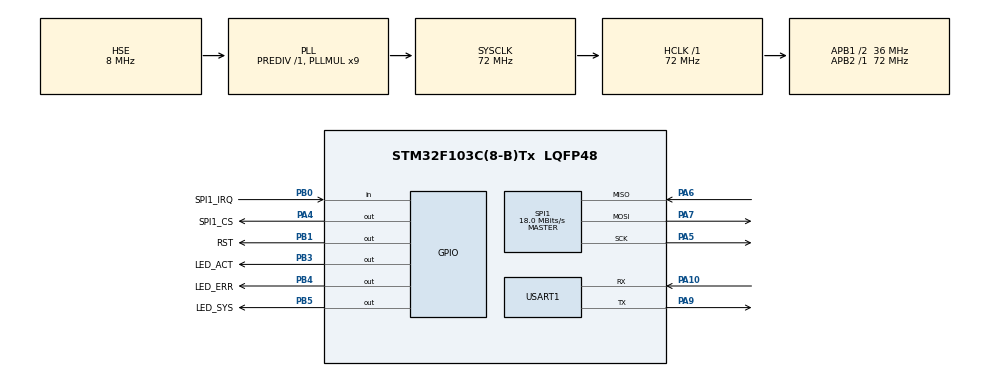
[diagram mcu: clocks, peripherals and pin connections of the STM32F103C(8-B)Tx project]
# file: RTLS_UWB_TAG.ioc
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IWDG.Prescaler=IWDG_PRESCALER_64
IWDG.Reload=624
Mcu.Family=STM32F1
Mcu.Name=STM32F103C(8-B)Tx
Mcu.Package=LQFP48
NVIC.PriorityGroup=NVIC_PRIORITYGROUP_4
NVIC.SPI1_IRQn=true\:0\:0\:false\:false\:true\:true\:true\:true
NVIC.TIM1_UP_IRQn=true\:0\:0\:false\:false\:true\:true\:true\:true
NVIC.USART1_IRQn=true\:0\:0\:false\:false\:true\:true\:true\:true
PA10.Mode=Asynchronous
PA10.Signal=USART1_RX
PA13.Mode=Serial_Wire
PA13.Signal=SYS_JTMS-SWDIO
PA14.Mode=Serial_Wire
PA14.Signal=SYS_JTCK-SWCLK
PA4.GPIO_Label=SPI1_CS
PA4.Signal=GPIO_Output
PA5.Mode=Full_Duplex_Master
PA5.Signal=SPI1_SCK
PA6.Mode=Full_Duplex_Master
PA6.Signal=SPI1_MISO
PA7.Mode=Full_Duplex_Master
PA7.Signal=SPI1_MOSI
PA9.Mode=Asynchronous
PA9.Signal=USART1_TX
PB0.GPIO_Label=SPI1_IRQ
PB0.Signal=GPIO_Input
PB1.GPIO_Label=RST
PB1.Signal=GPIO_Output
PB3.GPIO_Label=LED_ACT
PB3.Signal=GPIO_Output
PB4.GPIO_Label=LED_ERR
PB4.Signal=GPIO_Output
PB5.GPIO_Label=LED_SYS
PB5.Signal=GPIO_Output
PD0-OSC_IN.Mode=HSE-External-Oscillator
PD0-OSC_IN.Signal=RCC_OSC_IN
PD1-OSC_OUT.Mode=HSE-External-Oscillator
PD1-OSC_OUT.Signal=RCC_OSC_OUT
ProjectManager.HeapSize=0x200
ProjectManager.StackSize=0x400
ProjectManager.TargetToolchain=STM32CubeIDE
RCC.AHBFreq_Value=72000000
RCC.APB1CLKDivider=RCC_HCLK_DIV2
RCC.APB1Freq_Value=36000000
RCC.APB1TimFreq_Value=72000000
RCC.APB2Freq_Value=72000000
RCC.APB2TimFreq_Value=72000000
RCC.HCLKFreq_Value=72000000
RCC.PLLMUL=RCC_PLL_MUL9
RCC.PLLSourceVirtual=RCC_PLLSOURCE_HSE
RCC.SYSCLKFreq_VALUE=72000000
RCC.SYSCLKSource=RCC_SYSCLKSOURCE_PLLCLK
RCC.USBFreq_Value=72000000
SPI1.BaudRatePrescaler=SPI_BAUDRATEPRESCALER_4
SPI1.CalculateBaudRate=18.0 MBits/s
SPI1.Direction=SPI_DIRECTION_2LINES
SPI1.Mode=SPI_MODE_MASTER
SPI1.VirtualType=VM_MASTER
TIM1.Period=10000
TIM1.Prescaler=7200-1
USART1.VirtualMode=VM_ASYNC
VP_IWDG_VS_IWDG.Mode=IWDG_Activate
VP_TIM1_VS_ClockSourceINT.Mode=Internal
board=custom

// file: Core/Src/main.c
/* USER CODE BEGIN Header */
/**TAG TAG TAG TAG TAG TAG TAG TAG TAG TAG TAG TAG TAG TAG
 ******************************************************************************
 * @file           : main.c
 * @brief          : Main program body
 ******************************************************************************
 * @attention
 *
 * Copyright (c) 2023 STMicroelectronics.
 * All rights reserved.
 *
 * This software is licensed under terms that can be found in the LICENSE file
 * in the root directory of this software component.
 * If no LICENSE file comes with this software, it is provided AS-IS.
 *
 ******************************************************************************
 */
/* USER CODE END Header */
#include "main.h"
#include "iwdg.h"
#include "spi.h"
#include "tim.h"
#include "usart.h"
#include "gpio.h"

/* USER CODE BEGIN Includes */
#include <stdio.h>
#include <string.h>
#include <stdlib.h>
#include "decawave/dw_api.h"
#include "log/log.h"
#include "mac/mac.h"
#include "led/led.h"
/* USER CODE END Includes */

/* USER CODE BEGIN PTD */
// Payload of Anchor send to Tag
typedef struct
{
  uint8_t pollRx[5];
  uint8_t answerTx[5];
  uint8_t finalRx[5];
} __attribute__((packed)) reportPayload_t;

// timestamp
typedef union timestamp_u
{
  uint8_t raw[5];
  uint64_t full;
  struct
  {
    uint32_t low32;
    uint8_t high8;
  } __attribute__((packed));
  struct
  {
    uint8_t low8;
    uint32_t high32;
  } __attribute__((packed));
} timestamp_t;

typedef struct
{
  uint8_t typemess;
  uint8_t seq;
  // uint8_t anchorAddr[2];
} txHandle_t;

/* USER CODE END PTD */

/* USER CODE BEGIN PD */
// The four packets for ranging
#define POLL 0x01 // Poll is initiated by the tag
#define ANSWER 0x02
#define FINAL 0x03
#define REPORT 0x04 // Report contains all measurement from the anchor

#define TYPE 0 // POLL, ANWSER, FINAL, REPORT
#define SEQ 1  // sequence

#define RX_TIMEOUT 1000
/* USER CODE END PD */

/* USER CODE BEGIN PV */
// Timestamps for ranging
static dwTimestamp_t poll_tx;
static dwTimestamp_t poll_rx;
static dwTimestamp_t answer_tx;
static dwTimestamp_t answer_rx;
static dwTimestamp_t final_tx;
static dwTimestamp_t final_rx;

static const double C = 299702547;          // 299792458.0;        // Speed of light
static const double tsfreq = 499.2e6 * 128; // Timestamp counter frequency

// #define ANTENNA_OFFSET 154.6                                         // In meter
// #define ANTENNA_DELAY (ANTENNA_OFFSET * 499.2e6 * 128) / 299792458.0 // In radio tick
#define ANTENNA_DELAY 16469 // 16475 50

packet_t rxPacket = {0};
packet_t txPacket = {0};
txHandle_t txHandle = {0};
double arr_distance[3] = {0};
double average[30] = {0};
int count_aver=0;
double aver = 0;
volatile bool Flag_reset_timer = false;

// coordinate of anchors
float x_anchor1 = 200.0, y_anchor1 = 0.0;
float x_anchor2 = 0.0, y_anchor2 = 0.0;
float x_anchor3 = 0.0, y_anchor3 = 800.0;

// coor of tag
float coor_x, coor_y;

uint8_t curr_seq = 1;
int curr_anchor = 0;
long int seq_mess = 1;
int anchor_th = 0; // STT anchor

dwDeviceTypes_t device = {
    .extendedFrameLength = FRAME_LENGTH_NORMAL,
    .pacSize = PAC_SIZE_8,
    .pulseFrequency = TX_PULSE_FREQ_64MHZ,
    .dataRate = TRX_RATE_850KBPS,//TRX_RATE_6800KBPS,
    .preambleLength = TX_PREAMBLE_LEN_128,
    .preambleCode = PREAMBLE_CODE_64MHZ_9,
    .channel = CHANNEL_5,
    .smartPower = true,
    .frameCheck = true,
    .permanentReceive = false,
    .deviceMode = IDLE_MODE,
    .forceTxPower = false,
};

uint8_t tagBaseAddr[2] = {0x20, 0x01};
uint8_t anchorAddress[6] = {0x89, 0x01, 0x89, 0x02, 0x89, 0x03};

volatile bool sentAck = false;
volatile bool recievedAck = false;
volatile bool initAck = true;
/* USER CODE END PV */

void SystemClock_Config(void);

/* USER CODE BEGIN 0 */
void dwInteruptHandler(void)
{
  dwReadSystemEventStatusRegister(&device);
  if (dwIsTransmitDone(&device))
  {
    dwClearTransmitStatus(&device);
    sentAck = true;
  }
  if (dwIsReceiveDone(&device))
  {
    dwClearReceiveStatus(&device);
    recievedAck = true;
  }
  if (dwIsReceiveTimestampAvailable(&device))
  {
    dwClearReceiveTimestampAvailableStatus(&device);
  }
  if (dwIsReceiveFailed(&device))
  {
    dwClearReceiveStatus(&device);
    dwRxSoftReset(&device);
  }
  if (dwIsReceiveTimeout(&device))
  {
    dwClearReceiveStatus(&device);
    dwRxSoftReset(&device);
  }
}

void log_data(char *string)
{
  HAL_UART_Transmit(&huart, (uint8_t *)string, strlen(string), 1000);
}

void cal_location(float x1, float y1, float x2, float y2, float x3, float y3)
{
  float A, B, C, D, E, F;
  A = 2 * (x2 - x1);
  B = 2 * (y2 - y1);
  C = arr_distance[0] * arr_distance[0] - arr_distance[1] * arr_distance[1] - x1 * x1 + x2 * x2 - y1 * y1 + y2 * y2;
  D = 2 * (x3 - x1);
  E = 2 * (y3 - y1);
  F = arr_distance[0] * arr_distance[0] - arr_distance[2] * arr_distance[2] - x1 * x1 + x3 * x3 - y1 * y1 + y3 * y3;
  coor_x = (C * E - F * B) / (E * A - B * D);
  coor_y = (C * D - A * F) / (B * D - A * E);
}

// void set_timer(long time)
// {
//   TIM1.CNT = 60000 - time * 10;
// }
// void HAL_TIM_PeriodElapsedCallback(TIM_HandleTypeDef *htim)
// {
//   Flag_reset_timer = true;
//   // set_timer(1000);
//   log_data("Reset by Timer\r\n");
//   //NVIC_SystemReset();
// }
/* USER CODE END 0 */

int main(void)
{

  /* MCU Configuration--------------------------------------------------------*/

  /* Reset of all peripherals, Initializes the Flash interface and the Systick. */
  HAL_Init();

  /* Configure the system clock */
  SystemClock_Config();

  /* Initialize all configured peripherals */
  MX_GPIO_Init();
  MX_SPI1_Init();
  MX_USART1_UART_Init();
  MX_TIM1_Init();
  //MX_IWDG_Init();
  /* USER CODE BEGIN 2 */
  log_data("[TAG START]\r\n");
  MAC80215_PACKET_INIT(txPacket, MAC802154_TYPE_DATA);
  MAC80215_PACKET_INIT(rxPacket, MAC802154_TYPE_DATA);
  // init DW1000
  dwInit(&device);
  if (dwConfigure(&device) == DW_ERROR_OK)
  {
    dwEnableAllLeds(&device);
  }
  else
  {
    log_data("[Configure failed]\r\n");
    while (1)
      ;
  }
  dwNewConfiguration(&device);
  dwSetDefaults(&device);
  dwCommitConfiguration(&device);

  //set_timer(1000);
  //HAL_TIM_Base_Start_IT(&htim1);

  MX_IWDG_Init();
  /* USER CODE END 2 */

  /* Infinite loop */
  while (1)
  {

    /* USER CODE BEGIN 3 */
    // dwInteruptHandler();
    //  init ranging
    if (initAck)
    {
      initAck = false;
      char buf[10] = {0};
      sprintf(buf, "####SEQ: %ld\r\n", seq_mess);
      // log_data(buf);
      // memset(&txHandle, 0, sizeof(txHandle));
      // txHandle.typemess = POLL;
      // txHandle.seq = ++curr_seq; // poll message has seq = 1; answer is 2;..
      memset(&txPacket, 0, sizeof(txPacket));
      memset(&rxPacket, 0, sizeof(rxPacket));
      txPacket.payload[TYPE] = POLL;
      txPacket.payload[SEQ] = 1;
      memcpy(txPacket.destAddress, anchorAddress + 2 * anchor_th, 2);
      memcpy(txPacket.sourceAddress, tagBaseAddr, 2);
      // memcpy(txPacket.payload, &txHandle, sizeof(txHandle));
      //  transmision
      dwNewTransmit(&device);
      dwSetDefaults(&device);
      dwSetData(&device, (uint8_t *)&txPacket, MAC802154_HEADER_LENGTH + 2); // 2 is length of payload
      dwStartTransmit(&device);
      do
      {
        dwReadSystemEventStatusRegister(&device);
      } while (!(device.sysstatus[0] & (1 << TXFRS_BIT))); // if check TXRFS bit is 1, transmist OKE
      dwInteruptHandler();
    }
    if (sentAck)
    {
      // clear flag
      sentAck = false;
      dwTimestamp_t departure;
      dwGetTransmitTimestamp(&device, &departure);
      departure.timeFull += ANTENNA_DELAY;
      // log_data("TxCallBack\r\n");
      switch (txPacket.payload[TYPE])
      {
      case POLL:
        poll_tx = departure;
        // log_data("POLL\r\n");
        dwNewReceive(&device);
        dwSetDefaults(&device);
        dwStartReceive(&device);
        uint32_t time = HAL_GetTick();
        do
        {
          if (HAL_GetTick() - time > 10)
          {
            // log_data("TIMEOUT POLL AGAIN\r\n");
            memset(&txPacket, 0, sizeof(txPacket));
            txPacket.payload[TYPE] = POLL;
            txPacket.payload[SEQ] = 1;
            memcpy(txPacket.destAddress, anchorAddress + 2 * anchor_th, 2);
            memcpy(txPacket.sourceAddress, tagBaseAddr, 2);
            //  transmision
            dwNewTransmit(&device);
            dwSetDefaults(&device);
            dwSetData(&device, (uint8_t *)&txPacket, MAC802154_HEADER_LENGTH + 2); // 2 is length of payload
            dwStartTransmit(&device);
            do
            {
              dwReadSystemEventStatusRegister(&device);
            } while (!(device.sysstatus[0] & (1 << TXFRS_BIT)));
            dwClearTransmitStatus(&device);

            dwGetTransmitTimestamp(&device, &departure);
            departure.timeFull += ANTENNA_DELAY;
            poll_tx = departure;

            // log_data("TXOKE POLL AGAIN\r\n");
            // receive ANWSER
            dwNewReceive(&device);
            dwSetDefaults(&device);
            dwStartReceive(&device);

            time = HAL_GetTick();
            // break;
          }
          dwReadSystemEventStatusRegister(&device);
        } while (!((device.sysstatus[1] & (((1 << RXDFR_BIT) | (1 << RXFCG_BIT)) >> 8)) || (device.sysstatus[2] & ((1 << RXRFTO_BIT) >> 16))));
        dwInteruptHandler();
        break;
      case FINAL:
        final_tx = departure;
        // log_data("FINAL\r\n");
        dwNewReceive(&device);
        dwSetDefaults(&device);
        dwStartReceive(&device);
        uint32_t time1 = HAL_GetTick();
        do
        {
          if (HAL_GetTick() - time1 > 10)
          {
            // log_data("TIMEOUT FINAL\r\n");
            initAck = true;
            break;
          }
          dwReadSystemEventStatusRegister(&device);
        } while ((HAL_GetTick() - time1 < 100) || (!((device.sysstatus[1] & (((1 << RXDFR_BIT) | (1 << RXFCG_BIT)) >> 8)) || (device.sysstatus[2] & ((1 << RXRFTO_BIT) >> 16)))));

        dwInteruptHandler();
        break;
      }
    }

    if (recievedAck)
    {
      recievedAck = false;
      // log_data("RxCallback\r\n");
      dwTimestamp_t arival;
      // check data length
      int dataLenght = dwGetDataLength(&device);
      if (dataLenght == 0)
      {
        return 0;
      }
      memset(&rxPacket, 0, sizeof(rxPacket));
      // get data from anchor and put in rxPacket
      dwGetData(&device, (uint8_t *)&rxPacket, dataLenght);
      // check address of tag due to anchor send
      // correct return 0
      if (memcmp(rxPacket.destAddress, tagBaseAddr, 2))
      {
        // wrong address and repeat receive
        log_data("error address\r\n");
        dwNewReceive(&device);
        dwSetDefaults(&device);
        dwStartReceive(&device);
        return 0;
      }
      else
      {
        // oke address
        switch (rxPacket.payload[TYPE])
        {
        case ANSWER:
          // log_data("ANSWER\r\n");
          if (rxPacket.payload[SEQ] != 2) // 2
          {
            log_data("wrong sequence number\r\n");
            return 0;
          }
          dwGetReceiveTimestamp(&device, &arival);
          arival.timeFull -= ANTENNA_DELAY;
          answer_rx = arival;
          // clear txpacket
          memset(&txPacket, 0, sizeof(txPacket));
          txPacket.payload[TYPE] = FINAL;
          txPacket.payload[SEQ] = 3; // 3
          memcpy(txPacket.destAddress, anchorAddress + 2 * anchor_th, 2);
          memcpy(txPacket.sourceAddress, tagBaseAddr, 2);
          dwNewTransmit(&device);
          dwSetDefaults(&device);
          dwSetData(&device, (uint8_t *)&txPacket, MAC802154_HEADER_LENGTH + 2); // 2 is length of payload
          dwStartTransmit(&device);
          do
          {
            dwReadSystemEventStatusRegister(&device);
          } while (!(device.sysstatus[0] & (1 << TXFRS_BIT)));
          dwInteruptHandler();
          break;
        case REPORT:
          // log_data("REPORT\r\n");
          {
            // reportpayload to receive timestamp of anchor send to tag to calculate
            // able truy cap cac phan tu trong payload thong qua con tro
            reportPayload_t *reportmess = (reportPayload_t *)(rxPacket.payload + 2);
            double tround1, treply1, tround2, treply2, tprop_ctn, tprop, distance;
            if (rxPacket.payload[SEQ] != 4) // 4
            {
              log_data("wrong sequence number\r\n");
              return 0;
            }
            memcpy(&poll_rx, &reportmess->pollRx, 5);
            memcpy(&answer_tx, &reportmess->answerTx, 5);
            memcpy(&final_rx, &reportmess->finalRx, 5);

            poll_rx.timeFull -= ANTENNA_DELAY;
            answer_tx.timeFull += ANTENNA_DELAY;
            final_rx.timeFull -= ANTENNA_DELAY;

            tround1 = answer_rx.timeLow32 - poll_tx.timeLow32;
            treply1 = answer_tx.timeLow32 - poll_rx.timeLow32;
            tround2 = final_rx.timeLow32 - answer_tx.timeLow32;
            treply2 = final_tx.timeLow32 - answer_rx.timeLow32;

            // printf("tround1: %f   treply2: %f\r\r\n", tround1, treply2);
            // printf("tround2: %f   treply1: %f\r\r\n", tround2, treply1);

            // tprop_ctn is value of resigter timer
            tprop_ctn = ((tround1 * tround2) - (treply1 * treply2)) / (tround1 + tround2 + treply1 + treply2);
            // printf("TProp (ctn): %d\r\r\n", (unsigned int)tprop_ctn);

            // tprop is value unit sencond
            tprop = tprop_ctn / tsfreq;
            distance = C * tprop * 100; // unit cm

            // printf("distance of anchor %d is: %5d(mm)", (int)rxPacket.sourceAddress, (unsigned int)distance * 1000);
            char buf1[50], buf2[30], buf3[30], buf4[30];

            // sprintf(buf3, "time of flight: %.2f(ns)\r\n", tprop * 1000000000000);
            // log_data(buf3);
            if (distance > 0 && distance < 2000)
            {
              arr_distance[anchor_th] = distance;
              // average[count_aver] = distance;
              // aver = aver + distance;
              // sprintf(buf1, "anchor[%d]:%.1f\r\n",anchor_th, distance);
              // log_data(buf1);

              // count_aver++;
              // if (count_aver == 30)
              // {
              //   count_aver = 0;
              //   aver = aver / 30;
              //   sprintf(buf2, "aver: %.1f\r\n", aver);
              //   log_data(buf2);
              // }
              anchor_th++;
              // enough 3 anchor
              if (anchor_th == 3)
              {
                //log_data("Enough 3 anchor\r\n");
                cal_location(x_anchor1, y_anchor1, x_anchor2, y_anchor2, x_anchor3, y_anchor3);
                char buf_coor[30];
                sprintf(buf_coor, "%.1f, %.1f\r\n", coor_x, coor_y);
                log_data(buf_coor);
                anchor_th = 0;
              }
            }

            // dwGetReceiveTimestamp(&device, &arival);
            // arival.timeFull -= ANTENNA_DELAY;
            // double totaltime;
            // totaltime = (arival.timeLow32 - poll_tx.timeLow32) / tsfreq;
            // sprintf(buf2, "total time: %.2f(ms)\r\n", totaltime*1000);
            // log_data(buf2);

            initAck = true;
            seq_mess++;

            HAL_IWDG_Refresh(&hiwdg);

            break;
          }
        }
      }
    }
  }
  /* USER CODE END 3 */
}

void SystemClock_Config(void)
{
  RCC_OscInitTypeDef RCC_OscInitStruct = {0};
  RCC_ClkInitTypeDef RCC_ClkInitStruct = {0};

  /** Initializes the RCC Oscillators according to the specified parameters
  * in the RCC_OscInitTypeDef structure.
  */
  RCC_OscInitStruct.OscillatorType = RCC_OSCILLATORTYPE_LSI|RCC_OSCILLATORTYPE_HSE;
  RCC_OscInitStruct.HSEState = RCC_HSE_ON;
  RCC_OscInitStruct.HSEPredivValue = RCC_HSE_PREDIV_DIV1;
  RCC_OscInitStruct.HSIState = RCC_HSI_ON;
  RCC_OscInitStruct.LSIState = RCC_LSI_ON;
  RCC_OscInitStruct.PLL.PLLState = RCC_PLL_ON;
  RCC_OscInitStruct.PLL.PLLSource = RCC_PLLSOURCE_HSE;
  RCC_OscInitStruct.PLL.PLLMUL = RCC_PLL_MUL9;
  if (HAL_RCC_OscConfig(&RCC_OscInitStruct) != HAL_OK)
  {
    Error_Handler();
  }

  /** Initializes the CPU, AHB and APB buses clocks
  */
  RCC_ClkInitStruct.ClockType = RCC_CLOCKTYPE_HCLK|RCC_CLOCKTYPE_SYSCLK
                              |RCC_CLOCKTYPE_PCLK1|RCC_CLOCKTYPE_PCLK2;
  RCC_ClkInitStruct.SYSCLKSource = RCC_SYSCLKSOURCE_PLLCLK;
  RCC_ClkInitStruct.AHBCLKDivider = RCC_SYSCLK_DIV1;
  RCC_ClkInitStruct.APB1CLKDivider = RCC_HCLK_DIV2;
  RCC_ClkInitStruct.APB2CLKDivider = RCC_HCLK_DIV1;

  if (HAL_RCC_ClockConfig(&RCC_ClkInitStruct, FLASH_LATENCY_2) != HAL_OK)
  {
    Error_Handler();
  }
}

void Error_Handler(void)
{
  __disable_irq();
  while (1)
  {
  }
}
